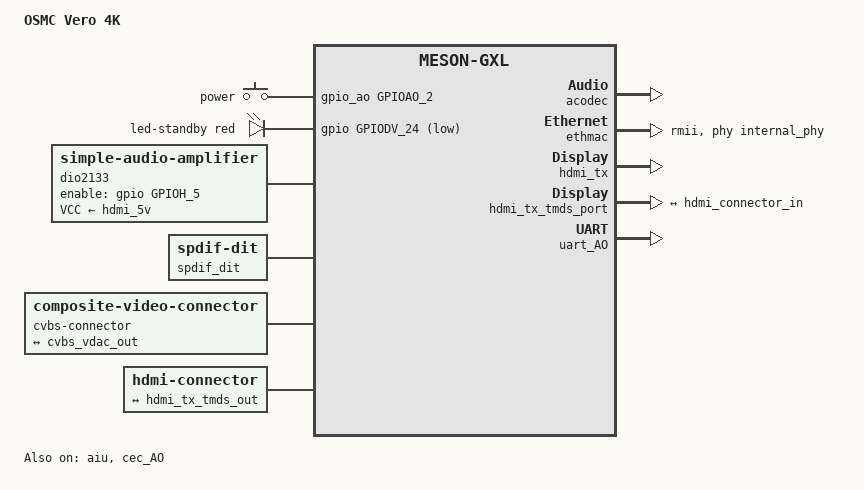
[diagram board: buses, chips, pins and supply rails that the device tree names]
// SPDX-License-Identifier: (GPL-2.0+ OR MIT)
/*
 * Copyright (c) 2024 Christian Hewitt <christianshewitt@gmail.com>
 */

/dts-v1/;

#include "meson-gxl-s905x-p212.dtsi"
#include <dt-bindings/input/input.h>
#include <dt-bindings/leds/common.h>
#include <dt-bindings/sound/meson-aiu.h>

/ {
	compatible = "osmc,vero4k", "amlogic,s905x", "amlogic,meson-gxl";
	model = "OSMC Vero 4K";

	reserved-memory {
		/* 32 MiB reserved for ARM Trusted Firmware (BL32) */
		secmon_reserved_bl32: secmon@5300000 {
			reg = <0x0 0x05300000 0x0 0x2000000>;
			no-map;
		};
	};

	gpio-keys-polled {
		compatible = "gpio-keys-polled";
		poll-interval = <20>;

		button {
			label = "power";
			linux,code = <KEY_POWER>;
			gpios = <&gpio_ao GPIOAO_2 GPIO_ACTIVE_HIGH>;
		};
	};

	leds {
		compatible = "gpio-leds";

		led-standby {
			color = <LED_COLOR_ID_RED>;
			function = LED_FUNCTION_POWER;
			gpios = <&gpio GPIODV_24 GPIO_ACTIVE_LOW>;
			default-state = "off";
			panic-indicator;
		};
	};

	dio2133: analog-amplifier {
		compatible = "simple-audio-amplifier";
		sound-name-prefix = "AU2";
		VCC-supply = <&hdmi_5v>;
		enable-gpios = <&gpio GPIOH_5 GPIO_ACTIVE_HIGH>;
	};

	spdif_dit: audio-codec-0 {
		#sound-dai-cells = <0>;
		compatible = "linux,spdif-dit";
		sound-name-prefix = "DIT";
	};

	cvbs-connector {
		compatible = "composite-video-connector";

		port {
			cvbs_connector_in: endpoint {
				remote-endpoint = <&cvbs_vdac_out>;
			};
		};
	};

	hdmi-connector {
		compatible = "hdmi-connector";
		type = "a";

		port {
			hdmi_connector_in: endpoint {
				remote-endpoint = <&hdmi_tx_tmds_out>;
			};
		};
	};

	sound {
		compatible = "amlogic,gx-sound-card";
		model = "VERO4K";
		audio-aux-devs = <&dio2133>;
		audio-widgets = "Line", "Lineout";
		audio-routing = "AU2 INL", "ACODEC LOLP",
				"AU2 INR", "ACODEC LORP",
				"AU2 INL", "ACODEC LOLN",
				"AU2 INR", "ACODEC LORN",
				"Lineout", "AU2 OUTL",
				"Lineout", "AU2 OUTR";
		assigned-clocks = <&clkc CLKID_MPLL0>,
				  <&clkc CLKID_MPLL1>,
				  <&clkc CLKID_MPLL2>;
		assigned-clock-parents = <0>, <0>, <0>;
		assigned-clock-rates = <294912000>,
				       <270950400>,
				       <393216000>;

		dai-link-0 {
			sound-dai = <&aiu AIU_CPU CPU_I2S_FIFO>;
		};

		dai-link-1 {
			sound-dai = <&aiu AIU_CPU CPU_SPDIF_FIFO>;
		};

		dai-link-2 {
			sound-dai = <&aiu AIU_CPU CPU_I2S_ENCODER>;
			dai-format = "i2s";
			mclk-fs = <256>;

			codec-0 {
				sound-dai = <&aiu AIU_HDMI CTRL_I2S>;
			};

			codec-1 {
				sound-dai = <&aiu AIU_ACODEC CTRL_I2S>;
			};
		};

		dai-link-3 {
			sound-dai = <&aiu AIU_CPU CPU_SPDIF_ENCODER>;

			codec-0 {
				sound-dai = <&spdif_dit>;
			};
		};

		dai-link-4 {
			sound-dai = <&aiu AIU_HDMI CTRL_OUT>;

			codec-0 {
				sound-dai = <&hdmi_tx>;
			};
		};

		dai-link-5 {
			sound-dai = <&aiu AIU_ACODEC CTRL_OUT>;

			codec-0 {
				sound-dai = <&acodec>;
			};
		};
	};
};

&acodec {
	AVDD-supply = <&vddio_ao18>;
	status = "okay";
};

&aiu {
	status = "okay";
	pinctrl-0 = <&spdif_out_h_pins>;
	pinctrl-names = "default";
};

&cec_AO {
	status = "okay";
	pinctrl-0 = <&ao_cec_pins>;
	pinctrl-names = "default";
	hdmi-phandle = <&hdmi_tx>;
};

&cvbs_vdac_port {
	cvbs_vdac_out: endpoint {
		remote-endpoint = <&cvbs_connector_in>;
	};
};

&ethmac {
	phy-mode = "rmii";
	phy-handle = <&internal_phy>;
};

&hdmi_tx {
	status = "okay";
	pinctrl-0 = <&hdmi_hpd_pins>, <&hdmi_i2c_pins>;
	pinctrl-names = "default";
	hdmi-supply = <&hdmi_5v>;
};

&hdmi_tx_tmds_port {
	hdmi_tx_tmds_out: endpoint {
		remote-endpoint = <&hdmi_connector_in>;
	};
};

&internal_phy {
	pinctrl-0 = <&eth_link_led_pins>, <&eth_act_led_pins>;
	pinctrl-names = "default";
};

/* This UART is brought out to the DB9 connector */
&uart_AO {
	status = "okay";
};
